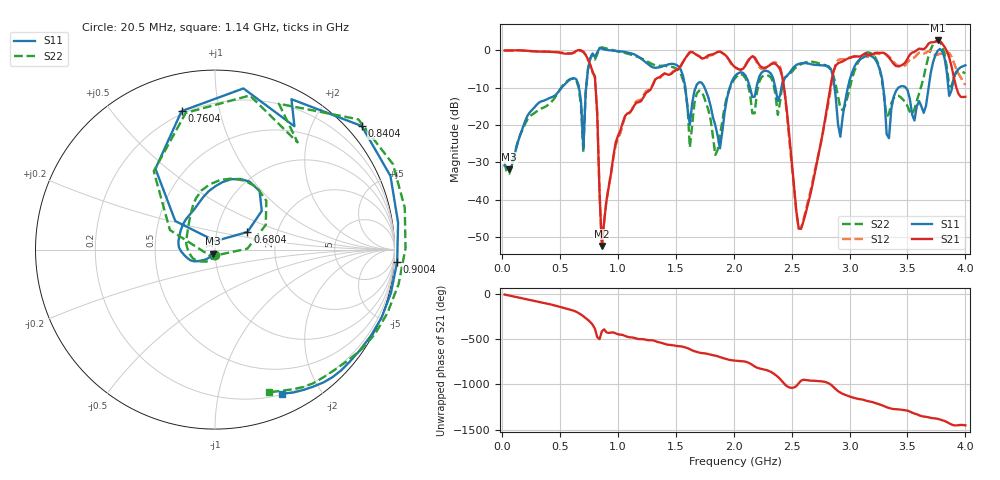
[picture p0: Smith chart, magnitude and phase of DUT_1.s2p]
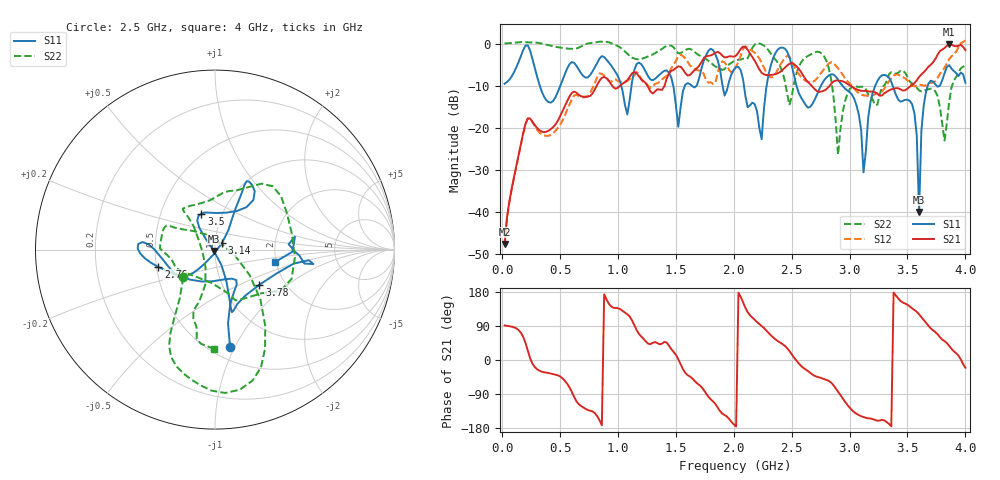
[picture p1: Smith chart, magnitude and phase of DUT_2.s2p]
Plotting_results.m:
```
% Author: Alexander Don
% University of Edinburgh (s2438345@ed.ac.uk)
% Remote Lab - Prototype test
% Date: 10-12-2022

%(Last Ammended 11-01-2023)

clc
clear all
close all

%Adding the measurement folders to the workspace
addpath("PocketVNA\")
addpath("Copper Mountain VNA\")

% Extracting the S-Parameter Data

%PocketVNA Measurements
PVNA_DUT1=sparameters('PVNA_DUT_1.s2p');
PVNA_DUT2=sparameters('PVNA_DUT_2.s2p');
PVNA_DUT3=sparameters('PVNA_DUT_3.s2p');
PVNA_DUT4=sparameters('PVNA_DUT_4.s2p');

% CopperMountain VNA (Professional VNA)
CMVNA_DUT1=sparameters('DUT_1.s2p');
CMVNA_DUT2=sparameters('DUT_2.s2p');
CMVNA_DUT3=sparameters('DUT_3.s2p');
CMVNA_DUT4=sparameters('DUT_4.s2p');

% "Ideal" Device reference S-parameters ( i.e the device measured soley
% using a VNA (not using the system)

DUT_1_REF= sparameters('DUT_1_REF.s2p');
DUT_2_REF= sparameters('DUT_2_REF.s2p');
DUT_3_REF= sparameters('DUT_3_REF.s2p');
DUT_4_REF= sparameters('DUT_4_REF.s2p');

%% DUT 1
figure
sgtitle('DUT 1 (Stub Filter)')

subplot(2,2,1)
rfplot(PVNA_DUT1,1,1,'db');
hold on
rfplot(CMVNA_DUT1,1,1,'db');
hold on
rfplot(DUT_1_REF,1,1,'db');
set(findobj(gca, 'Type', 'Line'), 'LineWidth', 0.8);
title('S11','Interpreter','latex','fontsize',13)
ylim([-50,50])
yticks(-50:10:50)
legend('PVNA','CMVNA','Ideal Reference','Interpreter','Latex')
grid minor

subplot(2,2,2)
rfplot(PVNA_DUT1,1,2,'db');
hold on
rfplot(CMVNA_DUT1,1,2,'db');
hold on
rfplot(DUT_1_REF,1,2,'db');
set(findobj(gca, 'Type', 'Line'), 'LineWidth', 1);
title('S12','Interpreter','latex','fontsize',13)
ylim([-50,50])
yticks(-50:10:50)
legend('PVNA','CMVNA','Ideal Reference','Interpreter','Latex')
grid minor

subplot(2,2,3)
rfplot(PVNA_DUT1,2,2,'db');
hold on
rfplot(CMVNA_DUT1,2,2,'db');
hold on
rfplot(DUT_1_REF,2,2,'db');
set(findobj(gca, 'Type', 'Line'), 'LineWidth', 1);
title('S22','Interpreter','latex','fontsize',13)
ylim([-50,50])
yticks(-50:10:50)
legend('PVNA','CMVNA','Ideal Reference','Interpreter','Latex')
grid minor

subplot(2,2,4)
rfplot(PVNA_DUT1,2,1,'db');
hold on
rfplot(CMVNA_DUT1,2,1,'db');
hold on
rfplot(DUT_1_REF,2,1,'db');
set(findobj(gca, 'Type', 'Line'), 'LineWidth', 1);
title('S21','Interpreter','latex','fontsize',13)
ylim([-50,50])
yticks(-50:10:50)
legend('PVNA','CMVNA','Ideal Reference','Interpreter','Latex')
grid minor

%% DUT 2
figure
sgtitle('DUT 2 (Ratrace Coupler) (Ports 1 & 2')

subplot(2,2,1)
rfplot(PVNA_DUT2,1,1,'db');
hold on
rfplot(CMVNA_DUT2,1,1,'db');
hold on
rfplot(DUT_2_REF,1,1,'db');
set(findobj(gca, 'Type', 'Line'), 'LineWidth', 0.8);
title('S11','Interpreter','latex','fontsize',13)
ylim([-50,50])
yticks(-50:10:50)
legend('PVNA','CMVNA','Ideal Reference','Interpreter','Latex')
grid minor


subplot(2,2,2)
rfplot(PVNA_DUT2,1,2,'db');
hold on
rfplot(CMVNA_DUT2,1,2,'db');
hold on
rfplot(DUT_2_REF,1,2,'db');
set(findobj(gca, 'Type', 'Line'), 'LineWidth', 1);
title('S12','Interpreter','latex','fontsize',13)
ylim([-50,50])
yticks(-50:10:50)
legend('PVNA','CMVNA','Ideal Reference','Interpreter','Latex')
grid minor

subplot(2,2,3)
rfplot(PVNA_DUT2,2,2,'db');
hold on
rfplot(CMVNA_DUT2,2,2,'db');
hold on
rfplot(DUT_2_REF,2,2,'db');
set(findobj(gca, 'Type', 'Line'), 'LineWidth', 1);
title('S22','Interpreter','latex','fontsize',13)
ylim([-50,50])
yticks(-50:10:50)
legend('PVNA','CMVNA','Ideal Reference','Interpreter','Latex')
grid minor

subplot(2,2,4)
rfplot(PVNA_DUT2,2,1,'db');
hold on
rfplot(CMVNA_DUT2,2,1,'db');
hold on
rfplot(DUT_2_REF,2,1,'db');
set(findobj(gca, 'Type', 'Line'), 'LineWidth', 1);
title('S21','Interpreter','latex','fontsize',13)
ylim([-50,50])
yticks(-50:10:50)
legend('PVNA','CMVNA','Ideal Reference','Interpreter','Latex')
grid minor

%% DUT 3
figure
sgtitle('DUT 3 (Ratrace Coupler) (Ports 1 & 4')

subplot(2,2,1)
rfplot(PVNA_DUT3,1,1,'db');
hold on
rfplot(CMVNA_DUT3,1,1,'db');
hold on
rfplot(DUT_3_REF,1,1,'db');
set(findobj(gca, 'Type', 'Line'), 'LineWidth', 0.8);
title('S11','Interpreter','latex','fontsize',13)
ylim([-50,50])
yticks(-50:10:50)
legend('PVNA','CMVNA','Ideal Reference','Interpreter','Latex')
grid minor


subplot(2,2,2)
rfplot(PVNA_DUT3,1,2,'db');
hold on
rfplot(CMVNA_DUT3,1,2,'db');
hold on
rfplot(DUT_3_REF,1,2,'db');
set(findobj(gca, 'Type', 'Line'), 'LineWidth', 1);
title('S12','Interpreter','latex','fontsize',13)
ylim([-50,50])
yticks(-50:10:50)
legend('PVNA','CMVNA','Ideal Reference','Interpreter','Latex')
grid minor

subplot(2,2,3)
rfplot(PVNA_DUT3,2,2,'db');
hold on
rfplot(CMVNA_DUT3,2,2,'db');
hold on
rfplot(DUT_3_REF,2,2,'db');
set(findobj(gca, 'Type', 'Line'), 'LineWidth', 1);
title('S22','Interpreter','latex','fontsize',13)
ylim([-50,50])
yticks(-50:10:50)
legend('PVNA','CMVNA','Ideal Reference','Interpreter','Latex')
grid minor

subplot(2,2,4)
rfplot(PVNA_DUT3,2,1,'db');
hold on
rfplot(CMVNA_DUT3,2,1,'db');
hold on
rfplot(DUT_3_REF,2,1,'db');
set(findobj(gca, 'Type', 'Line'), 'LineWidth', 1);
title('S21','Interpreter','latex','fontsize',13)
ylim([-50,50])
yticks(-50:10:50)
legend('PVNA','CMVNA','Ideal Reference','Interpreter','Latex')
grid minor

%% DUT 4
figure
sgtitle('DUT 4 (Ratrace Coupler) (Ports 1 & 3)')

subplot(2,2,1)
rfplot(PVNA_DUT4,1,1,'db');
hold on
rfplot(CMVNA_DUT4,1,1,'db');
hold on
rfplot(DUT_4_REF,1,1,'db');
set(findobj(gca, 'Type', 'Line'), 'LineWidth', 0.8);
title('S11','Interpreter','latex','fontsize',13)
ylim([-50,50])
yticks(-50:10:50)
legend('PVNA','CMVNA','Ideal Reference','Interpreter','Latex')
grid minor


subplot(2,2,2)
rfplot(PVNA_DUT4,1,2,'db');
hold on
rfplot(CMVNA_DUT4,1,2,'db');
hold on
rfplot(DUT_4_REF,1,2,'db');
set(findobj(gca, 'Type', 'Line'), 'LineWidth', 1);
title('S12','Interpreter','latex','fontsize',13)
ylim([-50,50])
yticks(-50:10:50)
legend('PVNA','CMVNA','Ideal Reference','Interpreter','Latex')
grid minor

subplot(2,2,3)
rfplot(PVNA_DUT4,2,2,'db');
hold on
rfplot(CMVNA_DUT4,2,2,'db');
hold on
rfplot(DUT_4_REF,2,2,'db');
set(findobj(gca, 'Type', 'Line'), 'LineWidth', 1);
title('S22','Interpreter','latex','fontsize',13)
ylim([-50,50])
yticks(-50:10:50)
legend('PVNA','CMVNA','Ideal Reference','Interpreter','Latex')
grid minor

subplot(2,2,4)
rfplot(PVNA_DUT4,2,1,'db');
hold on
rfplot(CMVNA_DUT4,2,1,'db');
hold on
rfplot(DUT_4_REF,2,1,'db');
set(findobj(gca, 'Type', 'Line'), 'LineWidth', 1);
title('S21','Interpreter','latex','fontsize',13)
ylim([-50,50])
yticks(-50:10:50)
legend('PVNA','CMVNA','Ideal Reference','Interpreter','Latex')
grid minor
```
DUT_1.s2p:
# Hz S DB R 50
! CMT, S5180, 51801906, 22.3.3/1
! Date: 27/01/2023 17:17:46
! Data: Format (Calibration Info)
! Freq	S11:dB/Ang(F2)	S21:dB/Ang(F2)	S12:dB/Ang(F2)	S22:dB/Ang(F2)
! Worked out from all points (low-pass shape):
!   200 points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, 20.5 MHz to 4 GHz, reference 50 ohm
!   highest |S21| = 2.68 dB at 3.76 GHz (marker M1); lowest = -52.5 dB at 860.4 MHz (marker M2)
!   |S21| within 3 dB of the highest: start of sweep to 327.3 MHz; 3.563 GHz to 3.842 GHz (278.4 MHz wide, 7.52 % of centre)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
!   lowest |S11| = -31.9 dB at 60.49 MHz (marker M3), VSWR 1.05, Z = 48.9 - j2.27 ohm
!   |S11| at or under -10 dB: start of sweep to 512.6 MHz; 1.748 GHz to 1.965 GHz (217.1 MHz wide, 11.7 % of centre); 3.485 GHz to 3.683 GHz (197.3 MHz wide, 5.5 % of centre)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
!   |S22| runs from -33.1 to 2.6 dB; largest |S21 - S12| = 0.64
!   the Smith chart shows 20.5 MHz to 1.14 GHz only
!   S11 on the Smith chart (normalised r, x): 20.5 MHz: 0.99, -0.06; 680.4 MHz: 1.41, +0.29; 760.4 MHz: 0.18, +0.77; 840.4 MHz: -0.28, +2.71; 900.4 MHz: -7, -28; 1.14 GHz: 0.21, -1.55
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2.04975e7  -30.92 -101.6  -0.00 -4.1  -0.03 -3.9  -30.14 -88.7
6.04925e7  -31.87 -114.3  -0.01 -14.8  -0.04 -14.8  -33.08 -91.7
6.80415e8  -13.74 28.5  0.03 134.2  -0.11 135.4  -14.86 1.7
7.60405e8  -2.01 103.6  -3.82 50.8  -4.07 50.3  -2.17 102.1
8.40395e8  0.58 40.1  -38.26 -138.1  -38.23 -138.9  0.66 42.3
8.603925e8  0.51 22.7  -52.47 -51.4  -52.51 -52.6  0.83 25.7
9.003875e8  0.15 -3.8  -40.25 -63.1  -40.12 -64.1  0.52 0.4
1.140358e9  -1.05 -65.0  -14.73 -124.4  -14.40 -125.1  -1.41 -69.3
2.020248e9  -6.54 170.1  -4.67 -17.5  -4.72 -15.5  -7.10 169.4
3.76003e9  -0.13 5.5  2.68 59.3  -1.13 37.3  2.64 -25.1
4e9  -3.98 60.8  -12.43 -13.2  -9.25 -27.5  -6.11 72.2
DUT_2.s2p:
# Hz S DB R 50
! CMT, S5180, 51801906, 22.3.3/1
! Date: 27/01/2023 17:18:21
! Data: Format (Calibration Info)
! Freq	S11:dB/Ang(F2)	S21:dB/Ang(F2)	S12:dB/Ang(F2)	S22:dB/Ang(F2)
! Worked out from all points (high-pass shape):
!   200 points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, 20.5 MHz to 4 GHz, reference 50 ohm
!   highest |S21| = -0.18 dB at 3.86 GHz (marker M1); lowest = -47.7 dB at 20.5 MHz (marker M2)
!   |S21| within 3 dB of the highest: 1.946 GHz to 2.16 GHz (213.4 MHz wide, 10.4 % of centre); 3.75 GHz to end of sweep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
!   lowest |S11| = -40.1 dB at 3.6 GHz (marker M3), VSWR 1.02, Z = 49.4 - j0.765 ohm
!   |S11| at or under -10 dB: 2.087 GHz to 2.284 GHz (196.1 MHz wide, 8.97 % of centre); 2.938 GHz to 3.222 GHz (284.1 MHz wide, 9.23 % of centre); 3.372 GHz to 3.676 GHz (303.7 MHz wide, 8.62 % of centre)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
!   |S22| runs from -26.5 to 0.4 dB; largest |S21 - S12| = 0.67
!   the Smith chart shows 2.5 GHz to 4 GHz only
!   S11 on the Smith chart (normalised r, x): 2.5 GHz: 0.62, -0.96; 2.76 GHz: 0.51, -0.11; 3.14 GHz: 1.08, +0.08; 3.5 GHz: 0.80, +0.34; 3.78 GHz: 1.49, -0.65; 4 GHz: 1.98, -0.31
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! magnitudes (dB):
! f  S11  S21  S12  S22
! 20.5 MHz  -9.6  -47.7  -48.2  0.0
! 220.5 MHz  -0.4  -17.8  -17.9  0.3
! 2.02 GHz  -5.6  -2.9  -5.4  -3.9
! 2.5 GHz  -5.2  -4.7  -4.1  -12.6
! 2.76 GHz  -9.6  -11.4  -6.8  -2.4
! 3.14 GHz  -25.7  -11.2  -12.4  -10.9
! 3.5 GHz  -13.4  -10.7  -8.8  -8.0
! 3.6 GHz  -40.1  -8.0  -9.8  -11.2
! 3.78 GHz  -10.0  -1.8  -7.2  -15.1
! 3.86 GHz  -5.1  -0.2  -3.7  -13.8
! 4 GHz  -9.3  -1.6  0.7  -5.1
